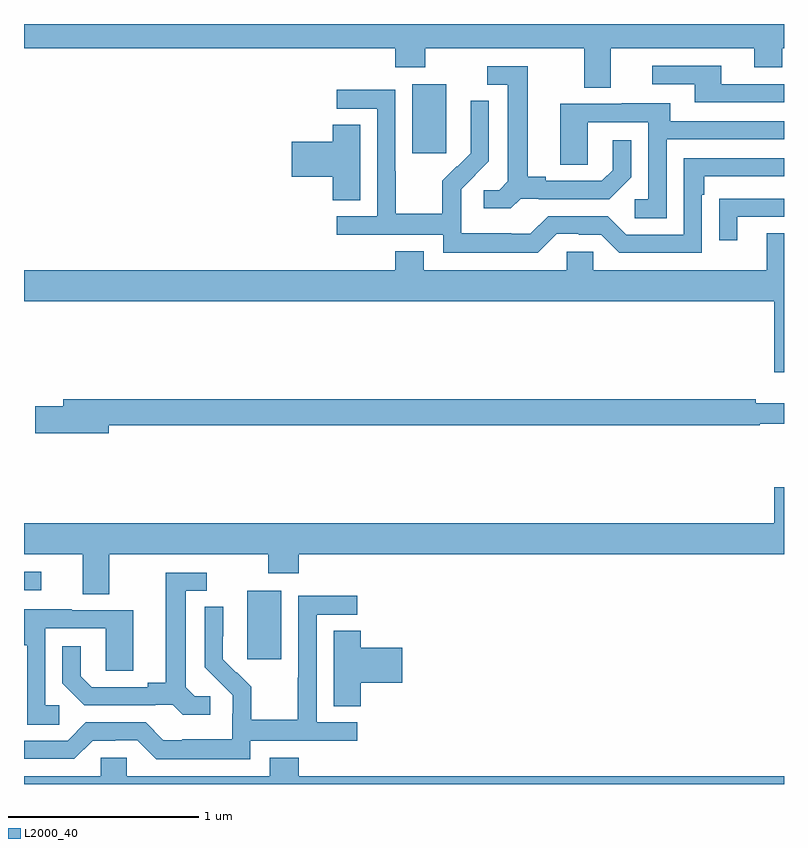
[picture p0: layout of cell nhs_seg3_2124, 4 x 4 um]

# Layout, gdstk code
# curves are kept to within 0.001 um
import gdstk
lib = gdstk.Library(unit=1e-6, precision=1e-09)
def R(c, l, rs):  # rectangles x0, y0, x1, y1
    for r in rs: c.add(gdstk.rectangle(r[:2], r[2:], *l))
def P(c, l, *ps):  # polygons
    for p in ps: c.add(gdstk.Polygon(p, *l))
L2000_40 = (2000, 40)

nhs_seg3_2124 = lib.new_cell('nhs_seg3_2124')
R(nhs_seg3_2124, L2000_40, [(222.176,675.057,222.355,675.418), (221,675.42,221.092,675.516), (223.043,677.721,223.222,678.082)])
P(nhs_seg3_2124, L2000_40, [(224.089,678.272),(224.843,678.272),(224.843,678.173),(224.991,678.173),(224.991,678.272),(225,678.272),(225,678.4),(221,678.4),(221,678.272),(222.953,678.272),(222.953,678.173),(223.113,678.173),(223.113,678.272),(223.949,678.272),(223.949,678.064),(224.089,678.064)],
  [(225,678.084),(224.671,678.084),(224.671,678.18),(224.307,678.18),(224.307,678.084),(224.531,678.084),(224.531,677.988),(225,677.988)],
  [(223.614,677.481),(223.708,677.481),(223.708,677.478),(224.08,677.478),(224.196,677.594),(224.196,677.788),(224.099,677.788),(224.099,677.631),(224.042,677.574),(223.747,677.574),(223.747,677.597),(223.651,677.597),(223.651,678.177),(223.437,678.177),(223.437,678.081),(223.547,678.081),(223.547,677.573),(223.5,677.526),(223.419,677.526),(223.419,677.429),(223.562,677.429)],
  [(223.803,677.295),(223.919,677.295),(223.919,677.292),(224.037,677.292),(224.133,677.196),(224.568,677.196),(224.568,677.501),(224.581,677.501),(224.581,677.598),(225,677.598),(225,677.694),(224.472,677.694),(224.472,677.292),(224.169,677.292),(224.073,677.388),(223.758,677.388),(223.665,677.295),(223.565,677.295),(223.565,677.299),(223.302,677.299),(223.302,677.433),(223.3,677.433),(223.3,677.53),(223.446,677.678),(223.446,677.996),(223.35,677.996),(223.35,677.842),(223.352,677.842),(223.352,677.72),(223.281,677.649),(223.278,677.652),(223.201,677.575),(223.201,677.401),(222.957,677.401),(222.957,677.624),(222.954,677.624),(222.954,678.054),(222.645,678.054),(222.645,677.955),(222.858,677.955),(222.858,677.388),(222.645,677.388),(222.645,677.292),(223.206,677.292),(223.206,677.195),(223.703,677.195)],
  [(224.382,677.793),(225,677.793),(225,677.889),(224.401,677.889),(224.401,677.983),(224.147,677.983),(224.147,677.979),(223.823,677.979),(223.823,677.659),(223.968,677.659),(223.968,677.883),(224.286,677.883),(224.286,677.478),(224.214,677.478),(224.214,677.377),(224.382,677.377)],
  [(222.769,677.87),(222.626,677.87),(222.626,677.78),(222.408,677.78),(222.408,677.597),(222.626,677.597),(222.626,677.473),(222.769,677.473)],
  [(224.755,677.385),(225,677.385),(225,677.481),(224.761,677.481),(224.761,677.48),(224.659,677.48),(224.659,677.262),(224.755,677.262)],
  [(225,677.299),(224.909,677.299),(224.909,677.104),(223.995,677.104),(223.995,677.202),(223.857,677.202),(223.857,677.104),(223.105,677.104),(223.105,677.203),(222.953,677.203),(222.953,677.104),(221,677.104),(221,676.94),(224.948,676.94),(224.948,676.566),(225,676.566)],
  [(221.446,676.288),(224.872,676.288),(224.872,676.296),(225,676.296),(225,676.405),(224.852,676.405),(224.852,676.424),(221.207,676.424),(221.207,676.388),(221.058,676.388),(221.058,676.246),(221.446,676.246)],
  [(221.449,675.608),(222.286,675.608),(222.286,675.509),(222.446,675.509),(222.446,675.608),(225,675.608),(225,675.961),(224.948,675.961),(224.948,675.772),(221,675.772),(221,675.608),(221.309,675.608),(221.309,675.4),(221.449,675.4)],
  [(221.98,674.862),(221.898,674.862),(221.851,674.909),(221.851,675.417),(221.962,675.417),(221.962,675.513),(221.747,675.513),(221.747,674.933),(221.651,674.933),(221.651,674.91),(221.356,674.91),(221.299,674.967),(221.299,675.124),(221.202,675.124),(221.202,674.93),(221.318,674.814),(221.69,674.814),(221.69,674.817),(221.784,674.817),(221.836,674.765),(221.98,674.765)],
  [(222.192,674.628),(222.754,674.628),(222.754,674.724),(222.54,674.724),(222.54,675.291),(222.754,675.291),(222.754,675.39),(222.444,675.39),(222.444,674.96),(222.442,674.96),(222.442,674.737),(222.197,674.737),(222.197,674.911),(222.12,674.988),(222.117,674.985),(222.047,675.056),(222.048,675.332),(221.952,675.332),(221.952,675.014),(222.098,674.866),(222.098,674.769),(222.096,674.769),(222.096,674.635),(221.833,674.635),(221.833,674.631),(221.733,674.631),(221.64,674.724),(221.325,674.724),(221.229,674.628),(221,674.628),(221,674.532),(221.265,674.532),(221.361,674.628),(221.48,674.628),(221.48,674.631),(221.595,674.631),(221.695,674.531),(222.192,674.531)],
  [(221.185,674.814),(221.112,674.814),(221.112,675.219),(221.43,675.219),(221.43,674.995),(221.575,674.995),(221.575,675.315),(221.251,675.315),(221.251,675.319),(221,675.319),(221,675.129),(221.016,675.129),(221.016,674.713),(221.185,674.713)],
  [(222.773,674.933),(222.991,674.933),(222.991,675.116),(222.773,675.116),(222.773,675.206),(222.629,675.206),(222.629,674.809),(222.773,674.809)],
  [(225,674.44),(222.446,674.44),(222.446,674.539),(222.293,674.539),(222.293,674.44),(221.541,674.44),(221.541,674.538),(221.403,674.538),(221.403,674.44),(221,674.44),(221,674.4),(225,674.4)])

lib.write_gds('nhs_seg3_2124.gds')
